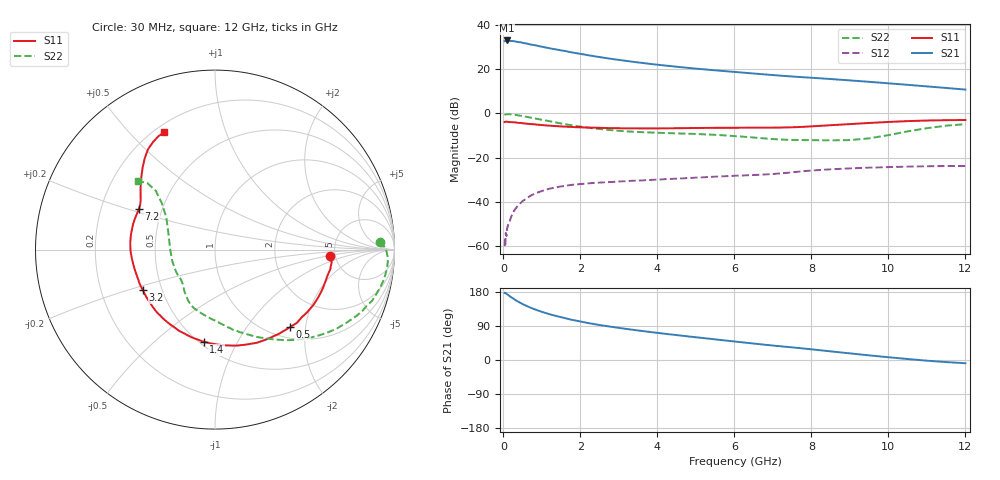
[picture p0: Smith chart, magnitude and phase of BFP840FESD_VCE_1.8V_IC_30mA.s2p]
! Infineon Technologies  Discrete & RF Semiconductors
! BFP840FESD
! VCE =  1.8 V,  IC =  30 mA
! Common Emitter S-Parameters:  May 2012
# GHz  S  MA  R  50
!  f  S11  S21  S12  S22
! GHz  MAG  ANG  MAG  ANG  MAG  ANG  MAG  ANG
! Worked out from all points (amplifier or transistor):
!   103 points, 30 MHz to 12 GHz, reference 50 ohm
!   highest |S21| = 33.0 dB at 80 MHz (marker M1)
!   |S21| within 3 dB of that: start of sweep to 1.046 GHz
!   unconditionally stable (mu >= 1): 5.204 GHz to end of sweep
!   at 400 MHz: K = 0.20, MSG = 36.7 dB, |S12| = -41.2 dB
!   at 3.7 GHz: K = 0.84, MSG = 26.4 dB, |S12| = -30.1 dB
!   at 12 GHz: K = 1.08, MAG = 15.5 dB, |S12| = -23.7 dB
!   S11 on the Smith chart (normalised r, x): 30 MHz: 4.53, -0.57; 500 MHz: 1.21, -1.64; 1.4 GHz: 0.52, -0.74; 3.2 GHz: 0.39, -0.22; 7.2 GHz: 0.37, +0.22; 12 GHz: 0.24, +0.63
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0.03  0.643 -3.3  42.98 176.9  0.001 109.5  0.9217 2.8
0.04  0.6456 -4.2  43.35 176.4  0.0014 95.9  0.9359 1.7
0.05  0.65 -5.2  43.96 177.2  0.0011 80.1  0.9451 0.8
0.08  0.6514 -8.3  44.8 174.8  0.0017 79.4  0.9594 -1.7
0.2  0.6378 -20.6  43.52 165.7  0.0046 81.0  0.9557 -10.0
0.3  0.6288 -29.5  42.85 159.0  0.0068 75.9  0.9319 -15.5
0.45  0.6123 -41.7  40.81 150.1  0.0095 72.2  0.8897 -22.6
0.5  0.6011 -46.0  39.51 147.5  0.0105 71.0  0.8714 -25.0
0.7  0.5769 -60.0  36.34 138.2  0.0138 64.9  0.8091 -32.9
0.9  0.5568 -71.9  33.73 130.5  0.0165 60.1  0.7488 -39.8
1.1  0.5378 -83.0  31.01 123.8  0.0189 56.1  0.693 -46.2
1.4  0.5172 -97.1  27.72 115.3  0.0217 50.9  0.6175 -54.5
1.8  0.4951 -113.7  23.82 105.6  0.0245 46.0  0.5369 -64.8
2.1  0.4833 -123.7  21.54 99.5  0.0258 43.4  0.4902 -71.4
2.6  0.471 -137.7  18.25 90.7  0.0277 40.7  0.437 -80.9
3.2  0.4613 -150.7  15.43 81.9  0.0295 39.4  0.3947 -90.2
4.1  0.461 -166.5  12.4 70.4  0.0323 38.9  0.3644 -101.4
6.1  0.4758 167.1  8.561 47.8  0.0394 39.5  0.3046 -121.9
7.2  0.4812 151.7  7.171 36.2  0.0442 42.0  0.2582 -135.2
8.5  0.5433 139.7  6.014 22.8  0.0547 38.3  0.2469 -164.3
10.5  0.6724 123.7  4.448 2.6  0.0629 29.7  0.3939 138.8
12  0.7124 113.5  3.47 -8.5  0.065 26.0  0.5746 138.4
